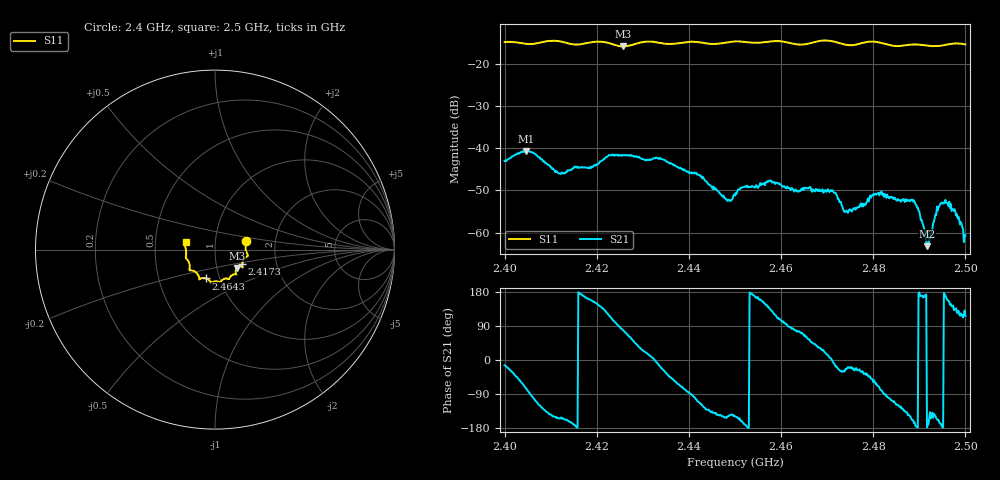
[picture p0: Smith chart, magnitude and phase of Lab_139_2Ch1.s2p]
# Hz S RI R 50
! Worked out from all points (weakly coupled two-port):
!   601 points, 2.4 GHz to 2.5 GHz, reference 50 ohm
!   highest |S21| = -40.65 dB at 2.4047 GHz (marker M1); lowest = -63.2 dB at 2.4917 GHz (marker M2)
!   lowest |S11| = -15.9 dB at 2.4257 GHz (marker M3), VSWR 1.38, Z = 62.5 - j13.1 ohm
!   |S11| at or under -10 dB: start of sweep to end of sweep
!   S12 and S22 are empty: the file has one direction only
!   S11 on the Smith chart (normalised r, x): 2.4 GHz: 1.41, +0.14; 2.4173 GHz: 1.34, -0.23; 2.4643 GHz: 0.86, -0.28; 2.5 GHz: 0.72, +0.06
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2.4e9  0.1732 0.0494  0.00684 -0.00172  0 0  0 0
2.404667e9  0.1706 0.0179  0.00234 -0.00898  0 0  0 0
2.411833e9  0.1809 -0.0365  -0.00453 -0.00219  0 0  0 0
2.416667e9  0.153 -0.0748  -0.00592 0.000799  0 0  0 0
2.417333e9  0.1522 -0.0821  -0.00577 0.00128  0 0  0 0
2.425667e9  0.123 -0.1021  0.00158 0.00806  0 0  0 0
2.433333e9  0.1128 -0.1371  0.00737 -0.00138  0 0  0 0
2.442167e9  0.074 -0.1635  -0.00176 -0.00451  0 0  0 0
2.448333e9  0.0342 -0.1753  -0.00203 -0.00121  0 0  0 0
2.45e9  0.0296 -0.1809  -0.00236 -0.00139  0 0  0 0
2.457333e9  -0.0154 -0.1816  -0.00309 0.00267  0 0  0 0
2.464333e9  -0.0499 -0.1607  0.00108 0.00307  0 0  0 0
2.466667e9  -0.0758 -0.1597  0.00207 0.00223  0 0  0 0
2.471333e9  -0.0873 -0.1614  0.00302 -0.000335  0 0  0 0
2.474167e9  -0.0987 -0.1345  0.00166 -0.000755  0 0  0 0
2.480667e9  -0.1428 -0.111  0.00132 -0.00247  0 0  0 0
2.483333e9  -0.1407 -0.0898  -0.000443 -0.00252  0 0  0 0
2.488833e9  -0.1622 -0.0467  -0.00234 -0.000573  0 0  0 0
2.491667e9  -0.1612 -0.0286  -0.000689 -2.25e-05  0 0  0 0
2.495167e9  -0.1646 0.0114  -0.00227 -8.47e-05  0 0  0 0
2.497667e9  -0.1707 0.0299  -0.00127 0.00139  0 0  0 0
2.5e9  -0.1639 0.0422  -0.000415 0.000827  0 0  0 0
